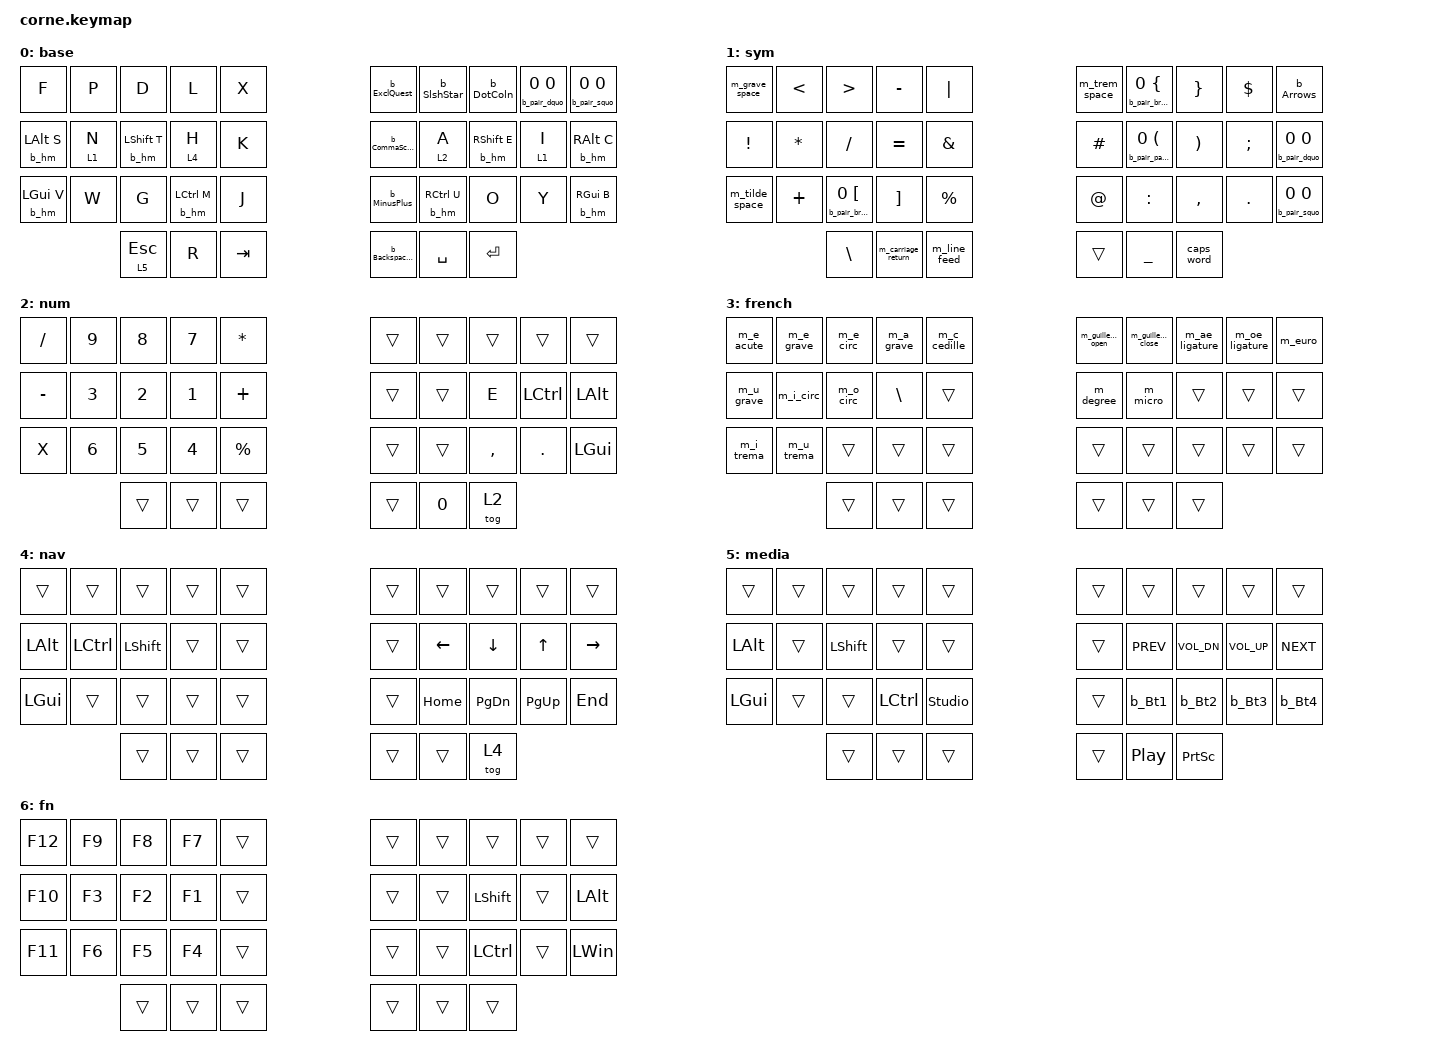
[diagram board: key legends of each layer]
#include <behaviors.dtsi>
#include <dt-bindings/zmk/keys.h>
#include <dt-bindings/zmk/bt.h>
#include <dt-bindings/zmk/outputs.h>

/ {
	chosen {
		zmk,physical-layout = &physical_layout_5col;// Seulement ça !
	};
	
	combos {
		compatible = "zmk,combos";
		combo_z {
			timeout-ms = <50>;
			key-positions = <2 3>;
			bindings = <&kp Z>;
			layers = <0>;
		};
		
		combo_q {
			timeout-ms = <50>;
			key-positions = <1 2>;
			bindings = <&kp Q>;
			layers = <0>;
		};

		comblo_block {
			timeout-ms = <50>;
			key-positions = <6 7>;
			bindings = <&m_code_block>;
			layers = <1>;
		};

		combo_fn {
			timeout-ms = <50>;
			key-positions = <15 16>;
			bindings = <&mo 6>;
			layers = <0>;
		};

		combo_grave {
			timeout-ms = <50>;
			key-positions = <6 7>;
			bindings = <&kp GRAVE>;
			layers = <0>;
		};

		combo_aigu {
			timeout-ms = <50>;
			key-positions = <7 8>;
			bindings = <&kp SINGLE_QUOTE>;
			layers = <0>;
		};

		combo_circonf {
			timeout-ms = <50>;
			key-positions = <6 7 8>;
			bindings = <&kp CARET>;
			layers = <0>;
		};

		combo_trem {
			timeout-ms = <50>;
			key-positions = <6 8>;
			bindings = <&kp DOUBLE_QUOTES>;
			layers = <0>;
		};
	};
	
	physical_layout_5col: physical_layout_5col {
		compatible = "zmk,physical-layout";
		display-name = "5 Column";
		
		transform = <&five_column_transform>;// ← Le transform est ICI
		
		kscan = <&kscan0>;
		
		keys// <width height x y rot_x rot_y rot_angle>
		// Row 0 - Gauche
		= <&key_physical_attrs 100 100    0   0 0 0 0>// F (0)
		, <&key_physical_attrs 100 100  100   0 0 0 0>// P (1)
		, <&key_physical_attrs 100 100  200   0 0 0 0>// D (2)
		, <&key_physical_attrs 100 100  300   0 0 0 0>// L (3)
		, <&key_physical_attrs 100 100  400   0 0 0 0>// X (4)
		// Row 0 - Droite
		, <&key_physical_attrs 100 100  700   0 0 0 0>// # (5)
		, <&key_physical_attrs 100 100  800   0 0 0 0>// . (6)
		, <&key_physical_attrs 100 100  900   0 0 0 0>// / (7)
		, <&key_physical_attrs 100 100 1000   0 0 0 0>// " (8)
		, <&key_physical_attrs 100 100 1100   0 0 0 0>// ' (9)
		// Row 1 - Gauche
		, <&key_physical_attrs 100 100    0 110 0 0 0>// S (10)
		, <&key_physical_attrs 100 100  100 110 0 0 0>// N (11)
		, <&key_physical_attrs 100 100  200 110 0 0 0>// T (12)
		, <&key_physical_attrs 100 100  300 110 0 0 0>// H (13)
		, <&key_physical_attrs 100 100  400 110 0 0 0>// K (14)
		// Row 1 - Droite
		, <&key_physical_attrs 100 100  700 110 0 0 0>// , (15)
		, <&key_physical_attrs 100 100  800 110 0 0 0>// A (16)
		, <&key_physical_attrs 100 100  900 110 0 0 0>// E (17)
		, <&key_physical_attrs 100 100 1000 110 0 0 0>// I (18)
		, <&key_physical_attrs 100 100 1100 110 0 0 0>// C (19)
		// Row 2 - Gauche
		, <&key_physical_attrs 100 100    0 220 0 0 0>// V (20)
		, <&key_physical_attrs 100 100  100 220 0 0 0>// W (21)
		, <&key_physical_attrs 100 100  200 220 0 0 0>// G (22)
		, <&key_physical_attrs 100 100  300 220 0 0 0>// M (23)
		, <&key_physical_attrs 100 100  400 220 0 0 0>// J (24)
		// Row 2 - Droite
		, <&key_physical_attrs 100 100  700 220 0 0 0>// - (25)
		, <&key_physical_attrs 100 100  800 220 0 0 0>// U (26)
		, <&key_physical_attrs 100 100  900 220 0 0 0>// O (27)
		, <&key_physical_attrs 100 100 1000 220 0 0 0>// Y (28)
		, <&key_physical_attrs 100 100 1100 220 0 0 0>// B (29)
		// Row 3 - Pouces gauche
		, <&key_physical_attrs 100 100  200 330 0 0 0>// BSPC (30)
		, <&key_physical_attrs 100 100  300 330 0 0 0>// R (31)
		, <&key_physical_attrs 100 100  400 330 0 0 0>// DEL (32)
		// Row 3 - Pouces droite
		, <&key_physical_attrs 100 100  700 330 0 0 0>// BSPC (33)
		, <&key_physical_attrs 100 100  800 330 0 0 0>// SPACE (34)
		, <&key_physical_attrs 100 100  900 330 0 0 0>// RET (35)
		;
	};
	
	#include "macros/macros.dtsi"
	#include "behaviors.dtsi"
	
	keymap {
		compatible = "zmk,keymap";
		
		// Layer 0: BASE
		base {
			bindings = <
			&kp F            &kp P            &kp D                &kp L              &kp X              &b_ExclQuest         &b_SlshStar          &b_DotColn           &b_pair_dquo 0 0         &b_pair_squo 0 0
			&b_hm LEFT_ALT S &lt 1 N          &b_hm LSHIFT T       &lt 4 H		      &kp K              &b_CommaScoln        &lt 2 A              &b_hm RSHIFT E       &lt 1 I                  &b_hm RALT C
			&b_hm LEFT_GUI V &kp W            &kp G                &b_hm LCTRL M      &kp J              &b_MinusPlus         &b_hm RCTRL U        &kp O                &kp Y                    &b_hm RGUI B
			                                  &lt 5 ESCAPE         &kp R              &kp TAB            &b_BackspaceDelete   &kp SPACE            &kp RET
			>;
		};

		// Layer 1: SYM
		sym {
			bindings = <
			&m_grave_space   &kp LT           &kp GT                  &kp MINUS          &kp PIPE           &m_trem_space        &b_pair_brace 0 LBRC &kp RBRC             &kp DOLLAR               &b_Arrows
			&kp EXCLAMATION  &kp STAR         &kp SLASH               &kp EQUAL          &kp AMPERSAND      &kp HASH             &b_pair_paren 0 LPAR &kp RPAR             &kp SEMICOLON            &b_pair_dquo 0 0
			&m_tilde_space   &kp PLUS         &b_pair_bracket 0 LBKT  &kp RBKT           &kp PRCNT          &kp AT               &kp COLON            &kp COMMA            &kp DOT                  &b_pair_squo 0 0
			                                  &kp BACKSLASH           &m_carriage_return &m_line_feed       &trans               &kp UNDERSCORE       &caps_word
			>;
		};

		// Layer 2: NUM
		num {
			bindings = <
			&kp SLASH        &kp N9           &kp N8               &kp N7             &kp STAR           &trans               &trans               &trans               &trans                   &trans
			&kp MINUS        &kp N3           &kp N2               &kp N1             &kp PLUS           &trans               &trans               &kp E                &kp LEFT_CONTROL         &kp LEFT_ALT
			&kp X            &kp N6           &kp N5               &kp N4             &kp PRCNT          &trans               &trans               &kp COMMA            &kp DOT                  &kp LEFT_GUI
			                                  &trans               &trans             &trans             &trans               &kp N0               &tog 2
			>;
		};
		
		// Layer 3: FRENCH
		french {
			bindings = <
			&m_e_acute       &m_e_grave       &m_e_circ            &m_a_grave         &m_c_cedille       &m_guillemet_open    &m_guillemet_close   &m_ae_ligature       &m_oe_ligature           &m_euro
			&m_u_grave       &m_i_circ        &m_o_circ            &kp BACKSLASH      &trans             &m_degree            &m_micro             &trans               &trans                   &trans
			&m_i_trema       &m_u_trema       &trans               &trans             &trans             &trans               &trans               &trans               &trans                   &trans
			                                  &trans               &trans             &trans             &trans               &trans               &trans
			>;
		};
		
		// Layer 4: NAV
		nav {
			bindings = <
			&trans           &trans           &trans               &trans             &trans             &trans               &trans               &trans               &trans                   &trans
			&kp LALT         &kp LCTRL        &kp LSHIFT           &trans             &trans             &trans               &kp LEFT             &kp DOWN             &kp UP                   &kp RIGHT
			&kp LGUI         &trans           &trans               &trans             &trans             &trans               &kp HOME             &kp PG_DN            &kp PG_UP                &kp END
			                                  &trans               &trans             &trans             &trans               &trans               &tog 4
			>;
		};
		
		// Layer 5: MEDIA
		media {
			bindings = <
			&trans           &trans           &trans               &trans             &trans             &trans               &trans               &trans               &trans                   &trans
			&kp LALT         &trans           &kp LSHIFT           &trans             &trans             &trans               &kp C_PREV           &kp C_VOL_DN         &kp C_VOL_UP             &kp C_NEXT
			&kp LGUI         &trans           &trans               &kp LCTRL          &studio_unlock     &trans               &b_Bt1               &b_Bt2               &b_Bt3                   &b_Bt4
			                                  &trans               &trans             &trans             &trans               &kp C_PP             &kp PRINTSCREEN
			>;
		};

		// Layer 6: FN
		fn {
			bindings = <
			&kp F12          &kp F9           &kp F8               &kp F7             &trans             &trans               &trans               &trans               &trans                   &trans
			&kp F10          &kp F3           &kp F2               &kp F1             &trans             &trans               &trans               &kp LSHIFT           &trans                   &kp LALT
			&kp F11          &kp F6           &kp F5               &kp F4             &trans             &trans               &trans               &kp LCTRL            &trans                   &kp LWIN
			                                  &trans               &trans             &trans             &trans               &trans               &trans
			>;
		}; 
	};
};
